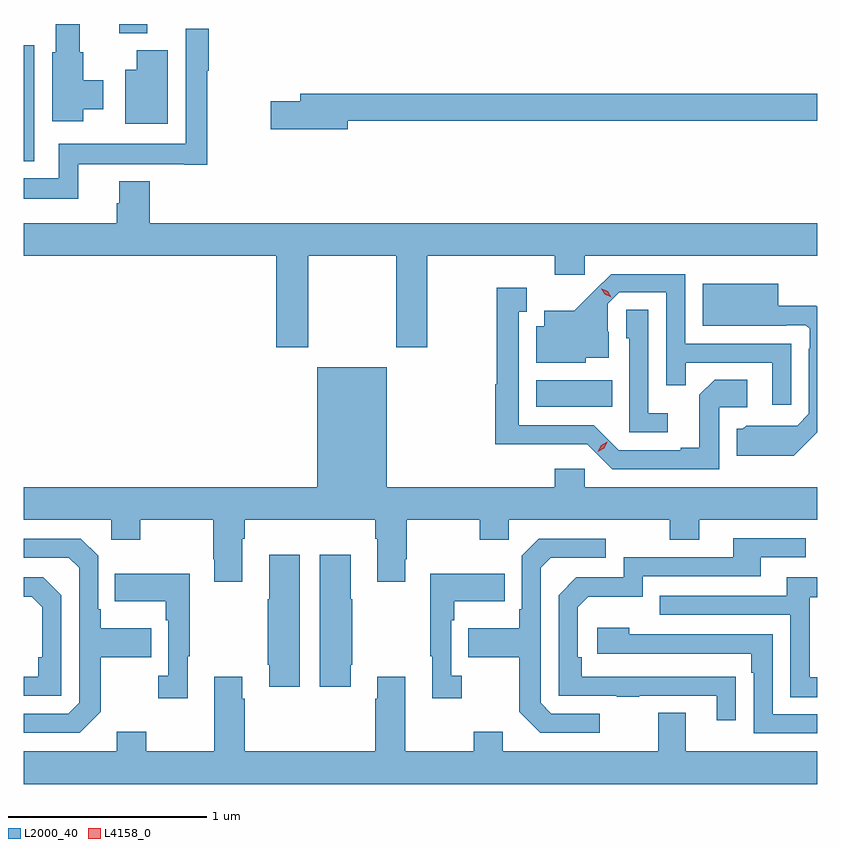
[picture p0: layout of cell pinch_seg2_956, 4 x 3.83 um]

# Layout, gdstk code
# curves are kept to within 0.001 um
import gdstk
lib = gdstk.Library(unit=1e-6, precision=1e-09)
def R(c, l, rs):  # rectangles x0, y0, x1, y1
    for r in rs: c.add(gdstk.rectangle(r[:2], r[2:], *l))
def P(c, l, *ps):  # polygons
    for p in ps: c.add(gdstk.Polygon(p, *l))
L2000_40 = (2000, 40)
L4158_0 = (4158, 0)

pinch_seg2_956 = lib.new_cell('pinch_seg2_956')
R(pinch_seg2_956, L2000_40, [(329.624,630.89,330.008,631.024), (327.04,632.129,327.093,632.713), (327.521,632.774,327.661,632.821)])
P(pinch_seg2_956, L2000_40, [(327.34,632.39),(327.439,632.39),(327.439,632.538),(327.34,632.538),(327.34,632.679),(327.322,632.679),(327.322,632.821),(327.2,632.821),(327.2,632.679),(327.182,632.679),(327.182,632.331),(327.34,632.331)],
  [(327.314,632.114),(327.848,632.114),(327.848,632.112),(327.964,632.112),(327.964,632.584),(327.971,632.584),(327.971,632.797),(327.855,632.797),(327.855,632.218),(327.216,632.218),(327.216,632.044),(327.04,632.044),(327.04,631.94),(327.314,631.94)],
  [(327.766,632.689),(327.608,632.689),(327.608,632.59),(327.551,632.59),(327.551,632.318),(327.766,632.318)],
  [(328.672,632.332),(331.04,632.332),(331.04,632.468),(328.433,632.468),(328.433,632.432),(328.284,632.432),(328.284,632.29),(328.672,632.29)],
  [(327.674,632.029),(327.521,632.029),(327.521,631.917),(327.509,631.917),(327.509,631.816),(327.04,631.816),(327.04,631.652),(328.313,631.652),(328.313,631.191),(328.473,631.191),(328.473,631.652),(328.918,631.652),(328.918,631.191),(329.073,631.191),(329.073,631.652),(329.717,631.652),(329.717,631.557),(329.868,631.557),(329.868,631.652),(331.04,631.652),(331.04,631.816),(327.674,631.816)],
  [(330.909,631.209),(330.375,631.209),(330.375,631.56),(330.002,631.56),(329.815,631.375),(329.663,631.375),(329.663,631.297),(329.624,631.297),(329.624,631.112),(329.874,631.112),(329.874,631.139),(329.989,631.139),(329.989,631.268),(329.985,631.268),(329.985,631.41),(330.042,631.467),(330.279,631.467),(330.279,631),(330.377,631),(330.377,631.113),(330.813,631.113),(330.813,630.9),(330.909,630.9)],
  [(331.003,630.725),(331.04,630.762),(331.04,631.395),(331.036,631.399),(330.844,631.399),(330.844,631.51),(330.464,631.51),(330.464,631.298),(330.884,631.298),(330.884,631.302),(330.984,631.302),(331.002,631.284),(331.002,631.184),(330.999,631.184),(330.999,630.855),(330.939,630.795),(330.682,630.796),(330.666,630.78),(330.635,630.78),(330.635,630.644),(330.923,630.644)],
  [(330.546,630.888),(330.688,630.888),(330.688,631.028),(330.523,631.028),(330.447,630.952),(330.447,630.685),(330.353,630.685),(330.353,630.672),(330.039,630.672),(329.913,630.798),(329.536,630.798),(329.536,631.371),(329.575,631.371),(329.575,631.492),(329.425,631.492),(329.425,631.005),(329.418,631.005),(329.418,630.701),(329.88,630.702),(330.006,630.576),(330.546,630.576)],
  [(330.286,630.859),(330.189,630.859),(330.189,631.379),(330.078,631.379),(330.078,631.236),(330.093,631.236),(330.093,630.762),(330.286,630.762)],
  [(328.141,630.224),(328.154,630.224),(328.154,630.32),(328.811,630.32),(328.811,630.224),(328.823,630.224),(328.823,630.009),(328.963,630.009),(328.963,630.121),(328.971,630.121),(328.971,630.32),(329.338,630.32),(329.338,630.221),(329.484,630.221),(329.484,630.32),(330.298,630.32),(330.298,630.221),(330.445,630.221),(330.445,630.32),(331.04,630.32),(331.04,630.484),(329.868,630.484),(329.868,630.577),(329.717,630.577),(329.717,630.484),(328.87,630.484),(328.87,631.09),(328.52,631.09),(328.52,630.484),(327.04,630.484),(327.04,630.32),(327.48,630.32),(327.48,630.221),(327.627,630.221),(327.627,630.32),(327.994,630.32),(327.994,630.121),(328.001,630.121),(328.001,630.009),(328.141,630.009)],
  [(330.629,629.528),(329.852,629.529),(329.852,629.626),(329.832,629.626),(329.832,629.88),(329.885,629.933),(330.162,629.933),(330.162,630.036),(330.757,630.036),(330.757,630.132),(330.982,630.132),(330.982,630.228),(330.617,630.228),(330.617,630.132),(330.066,630.132),(330.066,630.03),(329.826,630.03),(329.736,629.94),(329.736,629.433),(330.031,629.433),(330.031,629.428),(330.143,629.428),(330.143,629.433),(330.533,629.433),(330.533,629.31),(330.629,629.31)],
  [(327.427,629.353),(327.427,629.626),(327.683,629.626),(327.683,629.773),(327.427,629.773),(327.427,629.869),(327.414,629.869),(327.414,630.138),(327.327,630.225),(327.04,630.225),(327.04,630.129),(327.267,630.129),(327.318,630.078),(327.318,629.397),(327.264,629.343),(327.04,629.343),(327.04,629.247),(327.321,629.247)],
  [(329.944,629.343),(329.7,629.343),(329.646,629.397),(329.646,630.078),(329.697,630.129),(329.974,630.129),(329.974,630.225),(329.637,630.225),(329.55,630.138),(329.55,629.869),(329.538,629.869),(329.538,629.773),(329.281,629.773),(329.281,629.626),(329.538,629.626),(329.538,629.353),(329.643,629.247),(329.944,629.247)],
  [(328.687,629.59),(328.695,629.59),(328.695,629.921),(328.687,629.921),(328.687,630.145),(328.532,630.145),(328.532,629.478),(328.687,629.478)],
  [(328.432,630.145),(328.277,630.145),(328.277,629.921),(328.27,629.921),(328.27,629.59),(328.277,629.59),(328.277,629.478),(328.432,629.478)],
  [(329.248,629.534),(329.196,629.534),(329.196,629.813),(329.209,629.813),(329.209,629.909),(329.465,629.909),(329.465,630.049),(329.088,630.049),(329.088,629.633),(329.099,629.633),(329.099,629.421),(329.248,629.421)],
  [(327.865,629.633),(327.877,629.633),(327.877,630.049),(327.499,630.049),(327.499,629.909),(327.756,629.909),(327.756,629.813),(327.768,629.813),(327.768,629.534),(327.717,629.534),(327.717,629.421),(327.865,629.421)],
  [(331.04,629.526),(331.002,629.526),(331.002,629.931),(331.04,629.931),(331.04,630.031),(330.887,630.031),(330.887,629.937),(330.247,629.937),(330.247,629.841),(330.906,629.841),(330.906,629.425),(331.04,629.425)],
  [(327.228,629.94),(327.138,630.03),(327.04,630.03),(327.04,629.933),(327.079,629.933),(327.132,629.88),(327.132,629.626),(327.112,629.626),(327.112,629.529),(327.04,629.529),(327.04,629.433),(327.228,629.433)],
  [(331.04,629.34),(330.816,629.34),(330.816,629.742),(330.092,629.742),(330.092,629.776),(329.931,629.776),(329.931,629.646),(330.707,629.646),(330.707,629.549),(330.72,629.549),(330.72,629.244),(331.04,629.244)],
  [(331.04,629.152),(330.379,629.152),(330.379,629.347),(330.239,629.347),(330.239,629.152),(329.455,629.152),(329.455,629.251),(329.308,629.251),(329.308,629.152),(328.963,629.152),(328.963,629.53),(328.823,629.53),(328.823,629.417),(328.811,629.417),(328.811,629.152),(328.154,629.152),(328.154,629.417),(328.141,629.417),(328.141,629.53),(328.001,629.53),(328.001,629.152),(327.657,629.152),(327.657,629.251),(327.509,629.251),(327.509,629.152),(327.04,629.152),(327.04,628.988),(331.04,628.988)])
P(pinch_seg2_956, L4158_0, [(330.001,631.442),(329.97,631.457),(329.952,631.487),(329.952,631.487),(329.953,631.487),(329.984,631.472),(330.001,631.443),(330.001,631.442)],
  [(329.934,630.663),(329.934,630.663),(329.951,630.696),(329.983,630.714),(329.983,630.714),(329.983,630.714),(329.966,630.682),(329.934,630.663)])

lib.write_gds('pinch_seg2_956.gds')
